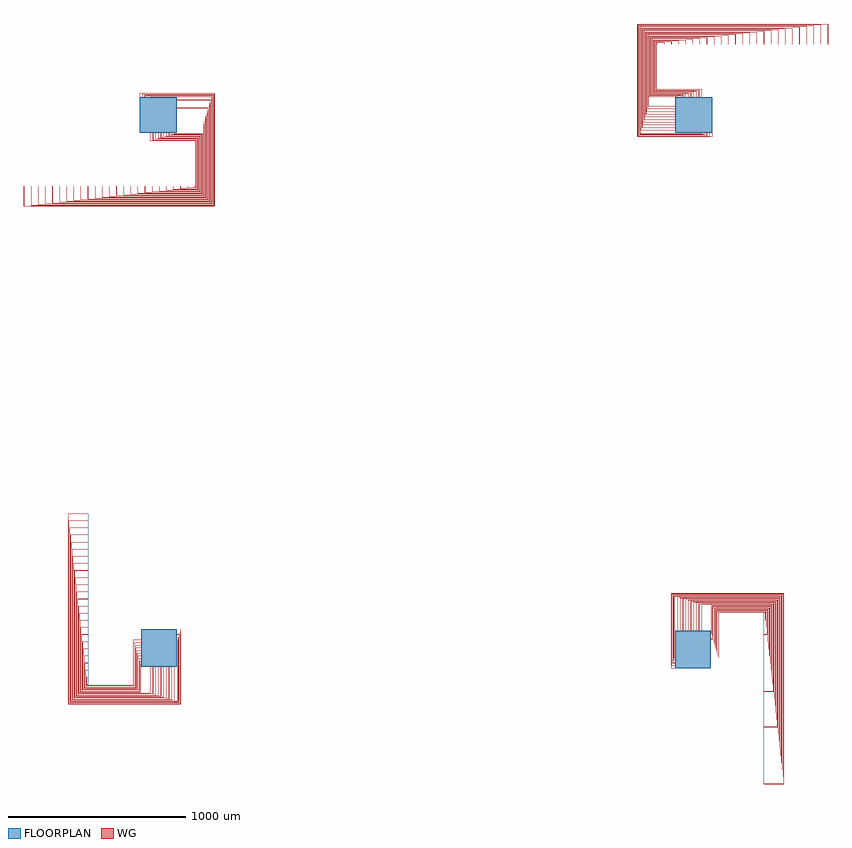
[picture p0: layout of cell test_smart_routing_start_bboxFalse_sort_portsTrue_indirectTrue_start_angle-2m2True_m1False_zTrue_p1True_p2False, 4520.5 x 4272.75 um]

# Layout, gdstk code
import gdstk
lib = gdstk.Library(unit=1e-6, precision=1e-09)
def R(c, l, rs):  # rectangles x0, y0, x1, y1
    for r in rs: c.add(gdstk.rectangle(r[:2], r[2:], *l))
def P(c, l, *ps):  # polygons
    for p in ps: c.add(gdstk.Polygon(p, *l))
WG = (1, 0)
FLOORPLAN = (10, 0)

test_smart_routing_start = lib.new_cell('test_smart_routing_start_bboxFalse_sort_portsTrue_indirectTrue_start_angle-2m2True_m1False_zTrue_p1True_p2False')
P(test_smart_routing_start, WG, [(3050.05,3100),(3050.05,3144.8),(2795.55,3144.8),(2795.55,3404.2),(2799.95,3404.2),(2799.95,3400),(2799.75,3400),(2799.75,3404),(2795.75,3404),(2795.75,3145),(3050.25,3145),(3050.25,3100)],
  [(3049.75,3100),(3049.75,3144.5),(2795.25,3144.5),(2795.25,3404.5),(2800.25,3404.5),(2800.25,3400),(2800.05,3400),(2800.05,3404.3),(2795.45,3404.3),(2795.45,3144.7),(3049.95,3144.7),(3049.95,3100)],
  [(3035.05,3100),(3035.05,3140.3),(2791.05,3140.3),(2791.05,3408.7),(2839.95,3408.7),(2839.95,3400),(2839.75,3400),(2839.75,3408.5),(2791.25,3408.5),(2791.25,3140.5),(3035.25,3140.5),(3035.25,3100)],
  [(3034.75,3100),(3034.75,3140),(2790.75,3140),(2790.75,3409),(2840.25,3409),(2840.25,3400),(2840.05,3400),(2840.05,3408.8),(2790.95,3408.8),(2790.95,3140.2),(3034.95,3140.2),(3034.95,3100)],
  [(3020.05,3100),(3020.05,3135.8),(2786.55,3135.8),(2786.55,3413.2),(2879.95,3413.2),(2879.95,3400),(2879.75,3400),(2879.75,3413),(2786.75,3413),(2786.75,3136),(3020.25,3136),(3020.25,3100)],
  [(3019.75,3100),(3019.75,3135.5),(2786.25,3135.5),(2786.25,3413.5),(2880.25,3413.5),(2880.25,3400),(2880.05,3400),(2880.05,3413.3),(2786.45,3413.3),(2786.45,3135.7),(3019.95,3135.7),(3019.95,3100)],
  [(3005.05,3100),(3005.05,3131.3),(2782.05,3131.3),(2782.05,3417.7),(2919.95,3417.7),(2919.95,3400),(2919.75,3400),(2919.75,3417.5),(2782.25,3417.5),(2782.25,3131.5),(3005.25,3131.5),(3005.25,3100)],
  [(3004.75,3100),(3004.75,3131),(2781.75,3131),(2781.75,3418),(2920.25,3418),(2920.25,3400),(2920.05,3400),(2920.05,3417.8),(2781.95,3417.8),(2781.95,3131.2),(3004.95,3131.2),(3004.95,3100)],
  [(2990.05,3100),(2990.05,3126.8),(2777.55,3126.8),(2777.55,3422.2),(2959.95,3422.2),(2959.95,3400),(2959.75,3400),(2959.75,3422),(2777.75,3422),(2777.75,3127),(2990.25,3127),(2990.25,3100)],
  [(2989.75,3100),(2989.75,3126.5),(2777.25,3126.5),(2777.25,3422.5),(2960.25,3422.5),(2960.25,3400),(2960.05,3400),(2960.05,3422.3),(2777.45,3422.3),(2777.45,3126.7),(2989.95,3126.7),(2989.95,3100)],
  [(2975.05,3100),(2975.05,3122.3),(2773.05,3122.3),(2773.05,3426.7),(2999.95,3426.7),(2999.95,3400),(2999.75,3400),(2999.75,3426.5),(2773.25,3426.5),(2773.25,3122.5),(2975.25,3122.5),(2975.25,3100)],
  [(2974.75,3100),(2974.75,3122),(2772.75,3122),(2772.75,3427),(3000.25,3427),(3000.25,3400),(3000.05,3400),(3000.05,3426.8),(2772.95,3426.8),(2772.95,3122.2),(2974.95,3122.2),(2974.95,3100)],
  [(2960.05,3100),(2960.05,3117.8),(2768.55,3117.8),(2768.55,3431.2),(3039.95,3431.2),(3039.95,3400),(3039.75,3400),(3039.75,3431),(2768.75,3431),(2768.75,3118),(2960.25,3118),(2960.25,3100)],
  [(2959.75,3100),(2959.75,3117.5),(2768.25,3117.5),(2768.25,3431.5),(3040.25,3431.5),(3040.25,3400),(3040.05,3400),(3040.05,3431.3),(2768.45,3431.3),(2768.45,3117.7),(2959.95,3117.7),(2959.95,3100)],
  [(2945.05,3100),(2945.05,3113.3),(2764.05,3113.3),(2764.05,3435.7),(3079.95,3435.7),(3079.95,3400),(3079.75,3400),(3079.75,3435.5),(2764.25,3435.5),(2764.25,3113.5),(2945.25,3113.5),(2945.25,3100)],
  [(2944.75,3100),(2944.75,3113),(2763.75,3113),(2763.75,3436),(3080.25,3436),(3080.25,3400),(3080.05,3400),(3080.05,3435.8),(2763.95,3435.8),(2763.95,3113.2),(2944.95,3113.2),(2944.95,3100)],
  [(2930.05,3100),(2930.05,3108.8),(2759.55,3108.8),(2759.55,3440.2),(3119.95,3440.2),(3119.95,3400),(3119.75,3400),(3119.75,3440),(2759.75,3440),(2759.75,3109),(2930.25,3109),(2930.25,3100)],
  [(2929.75,3100),(2929.75,3108.5),(2759.25,3108.5),(2759.25,3440.5),(3120.25,3440.5),(3120.25,3400),(3120.05,3400),(3120.05,3440.3),(2759.45,3440.3),(2759.45,3108.7),(2929.95,3108.7),(2929.95,3100)],
  [(2915.05,3100),(2915.05,3104.3),(2755.05,3104.3),(2755.05,3444.7),(3159.95,3444.7),(3159.95,3400),(3159.75,3400),(3159.75,3444.5),(2755.25,3444.5),(2755.25,3104.5),(2915.25,3104.5),(2915.25,3100)],
  [(2914.75,3100),(2914.75,3104),(2754.75,3104),(2754.75,3445),(3160.25,3445),(3160.25,3400),(3160.05,3400),(3160.05,3444.8),(2754.95,3444.8),(2754.95,3104.2),(2914.95,3104.2),(2914.95,3100)],
  [(2750.55,3050.05),(2750.55,3449.2),(3199.95,3449.2),(3199.95,3400),(3199.75,3400),(3199.75,3449),(2750.75,3449),(2750.75,3050.25),(2900,3050.25),(2900,3050.05)],
  [(2750.25,3049.75),(2750.25,3449.5),(3200.25,3449.5),(3200.25,3400),(3200.05,3400),(3200.05,3449.3),(2750.45,3449.3),(2750.45,3049.95),(2900,3049.95),(2900,3049.75)],
  [(2746.05,3035.05),(2746.05,3453.7),(3239.95,3453.7),(3239.95,3400),(3239.75,3400),(3239.75,3453.5),(2746.25,3453.5),(2746.25,3035.25),(2900,3035.25),(2900,3035.05)],
  [(2745.75,3034.75),(2745.75,3454),(3240.25,3454),(3240.25,3400),(3240.05,3400),(3240.05,3453.8),(2745.95,3453.8),(2745.95,3034.95),(2900,3034.95),(2900,3034.75)],
  [(2741.55,3020.05),(2741.55,3458.2),(3279.95,3458.2),(3279.95,3400),(3279.75,3400),(3279.75,3458),(2741.75,3458),(2741.75,3020.25),(2900,3020.25),(2900,3020.05)],
  [(2741.25,3019.75),(2741.25,3458.5),(3280.25,3458.5),(3280.25,3400),(3280.05,3400),(3280.05,3458.3),(2741.45,3458.3),(2741.45,3019.95),(2900,3019.95),(2900,3019.75)],
  [(2737.05,3005.05),(2737.05,3462.7),(3319.95,3462.7),(3319.95,3400),(3319.75,3400),(3319.75,3462.5),(2737.25,3462.5),(2737.25,3005.25),(2900,3005.25),(2900,3005.05)],
  [(2736.75,3004.75),(2736.75,3463),(3320.25,3463),(3320.25,3400),(3320.05,3400),(3320.05,3462.8),(2736.95,3462.8),(2736.95,3004.95),(2900,3004.95),(2900,3004.75)],
  [(2732.55,2990.05),(2732.55,3467.2),(3359.95,3467.2),(3359.95,3400),(3359.75,3400),(3359.75,3467),(2732.75,3467),(2732.75,2990.25),(2900,2990.25),(2900,2990.05)],
  [(2732.25,2989.75),(2732.25,3467.5),(3360.25,3467.5),(3360.25,3400),(3360.05,3400),(3360.05,3467.3),(2732.45,3467.3),(2732.45,2989.95),(2900,2989.95),(2900,2989.75)],
  [(2728.05,2975.05),(2728.05,3471.7),(3399.95,3471.7),(3399.95,3400),(3399.75,3400),(3399.75,3471.5),(2728.25,3471.5),(2728.25,2975.25),(2900,2975.25),(2900,2975.05)],
  [(2727.75,2974.75),(2727.75,3472),(3400.25,3472),(3400.25,3400),(3400.05,3400),(3400.05,3471.8),(2727.95,3471.8),(2727.95,2974.95),(2900,2974.95),(2900,2974.75)],
  [(2723.55,2960.05),(2723.55,3476.2),(3439.95,3476.2),(3439.95,3400),(3439.75,3400),(3439.75,3476),(2723.75,3476),(2723.75,2960.25),(2900,2960.25),(2900,2960.05)],
  [(2723.25,2959.75),(2723.25,3476.5),(3440.25,3476.5),(3440.25,3400),(3440.05,3400),(3440.05,3476.3),(2723.45,3476.3),(2723.45,2959.95),(2900,2959.95),(2900,2959.75)],
  [(2719.05,2945.05),(2719.05,3480.7),(3479.95,3480.7),(3479.95,3400),(3479.75,3400),(3479.75,3480.5),(2719.25,3480.5),(2719.25,2945.25),(2900,2945.25),(2900,2945.05)],
  [(2718.75,2944.75),(2718.75,3481),(3480.25,3481),(3480.25,3400),(3480.05,3400),(3480.05,3480.8),(2718.95,3480.8),(2718.95,2944.95),(2900,2944.95),(2900,2944.75)],
  [(2714.55,2930.05),(2714.55,3485.2),(3519.95,3485.2),(3519.95,3400),(3519.75,3400),(3519.75,3485),(2714.75,3485),(2714.75,2930.25),(2900,2930.25),(2900,2930.05)],
  [(2714.25,2929.75),(2714.25,3485.5),(3520.25,3485.5),(3520.25,3400),(3520.05,3400),(3520.05,3485.3),(2714.45,3485.3),(2714.45,2929.95),(2900,2929.95),(2900,2929.75)],
  [(2710.05,2915.05),(2710.05,3489.7),(3559.95,3489.7),(3559.95,3400),(3559.75,3400),(3559.75,3489.5),(2710.25,3489.5),(2710.25,2915.25),(2900,2915.25),(2900,2915.05)],
  [(2709.75,2914.75),(2709.75,3490),(3560.25,3490),(3560.25,3400),(3560.05,3400),(3560.05,3489.8),(2709.95,3489.8),(2709.95,2914.95),(2900,2914.95),(2900,2914.75)],
  [(2705.55,2895.8),(2705.55,3494.2),(3599.95,3494.2),(3599.95,3400),(3599.75,3400),(3599.75,3494),(2705.75,3494),(2705.75,2896),(3049.75,2896),(3049.75,2900),(3049.95,2900),(3049.95,2895.8)],
  [(2705.25,2895.5),(2705.25,3494.5),(3600.25,3494.5),(3600.25,3400),(3600.05,3400),(3600.05,3494.3),(2705.45,3494.3),(2705.45,2895.7),(3050.05,2895.7),(3050.05,2900),(3050.25,2900),(3050.25,2895.5)],
  [(2701.05,2891.3),(2701.05,3498.7),(3639.95,3498.7),(3639.95,3400),(3639.75,3400),(3639.75,3498.5),(2701.25,3498.5),(2701.25,2891.5),(3064.75,2891.5),(3064.75,2900),(3064.95,2900),(3064.95,2891.3)],
  [(2700.75,2891),(2700.75,3499),(3640.25,3499),(3640.25,3400),(3640.05,3400),(3640.05,3498.8),(2700.95,3498.8),(2700.95,2891.2),(3065.05,2891.2),(3065.05,2900),(3065.25,2900),(3065.25,2891)],
  [(2696.55,2886.8),(2696.55,3503.2),(3679.95,3503.2),(3679.95,3400),(3679.75,3400),(3679.75,3503),(2696.75,3503),(2696.75,2887),(3079.75,2887),(3079.75,2900),(3079.95,2900),(3079.95,2886.8)],
  [(2696.25,2886.5),(2696.25,3503.5),(3680.25,3503.5),(3680.25,3400),(3680.05,3400),(3680.05,3503.3),(2696.45,3503.3),(2696.45,2886.7),(3080.05,2886.7),(3080.05,2900),(3080.25,2900),(3080.25,2886.5)],
  [(2692.05,2882.3),(2692.05,3507.7),(3719.95,3507.7),(3719.95,3400),(3719.75,3400),(3719.75,3507.5),(2692.25,3507.5),(2692.25,2882.5),(3094.75,2882.5),(3094.75,2900),(3094.95,2900),(3094.95,2882.3)],
  [(2691.75,2882),(2691.75,3508),(3720.25,3508),(3720.25,3400),(3720.05,3400),(3720.05,3507.8),(2691.95,3507.8),(2691.95,2882.2),(3095.05,2882.2),(3095.05,2900),(3095.25,2900),(3095.25,2882)],
  [(2687.55,2877.8),(2687.55,3512.2),(3759.95,3512.2),(3759.95,3400),(3759.75,3400),(3759.75,3512),(2687.75,3512),(2687.75,2878),(3109.75,2878),(3109.75,2900),(3109.95,2900),(3109.95,2877.8)],
  [(2687.25,2877.5),(2687.25,3512.5),(3760.25,3512.5),(3760.25,3400),(3760.05,3400),(3760.05,3512.3),(2687.45,3512.3),(2687.45,2877.7),(3110.05,2877.7),(3110.05,2900),(3110.25,2900),(3110.25,2877.5)],
  [(200.05,2595.8),(200.05,2600),(200.25,2600),(200.25,2596),(204.25,2596),(204.25,2855),(-50.25,2855),(-50.25,2900),(-50.05,2900),(-50.05,2855.2),(204.45,2855.2),(204.45,2595.8)],
  [(199.75,2595.5),(199.75,2600),(199.95,2600),(199.95,2595.7),(204.55,2595.7),(204.55,2855.3),(-49.95,2855.3),(-49.95,2900),(-49.75,2900),(-49.75,2855.5),(204.75,2855.5),(204.75,2595.5)],
  [(160.05,2591.3),(160.05,2600),(160.25,2600),(160.25,2591.5),(208.75,2591.5),(208.75,2859.5),(-35.25,2859.5),(-35.25,2900),(-35.05,2900),(-35.05,2859.7),(208.95,2859.7),(208.95,2591.3)],
  [(159.75,2591),(159.75,2600),(159.95,2600),(159.95,2591.2),(209.05,2591.2),(209.05,2859.8),(-34.95,2859.8),(-34.95,2900),(-34.75,2900),(-34.75,2860),(209.25,2860),(209.25,2591)],
  [(120.05,2586.8),(120.05,2600),(120.25,2600),(120.25,2587),(213.25,2587),(213.25,2864),(-20.25,2864),(-20.25,2900),(-20.05,2900),(-20.05,2864.2),(213.45,2864.2),(213.45,2586.8)],
  [(119.75,2586.5),(119.75,2600),(119.95,2600),(119.95,2586.7),(213.55,2586.7),(213.55,2864.3),(-19.95,2864.3),(-19.95,2900),(-19.75,2900),(-19.75,2864.5),(213.75,2864.5),(213.75,2586.5)],
  [(80.05,2582.3),(80.05,2600),(80.25,2600),(80.25,2582.5),(217.75,2582.5),(217.75,2868.5),(-5.25,2868.5),(-5.25,2900),(-5.05,2900),(-5.05,2868.7),(217.95,2868.7),(217.95,2582.3)],
  [(79.75,2582),(79.75,2600),(79.95,2600),(79.95,2582.2),(218.05,2582.2),(218.05,2868.8),(-4.95,2868.8),(-4.95,2900),(-4.75,2900),(-4.75,2869),(218.25,2869),(218.25,2582)],
  [(40.05,2577.8),(40.05,2600),(40.25,2600),(40.25,2578),(222.25,2578),(222.25,2873),(9.75,2873),(9.75,2900),(9.95,2900),(9.95,2873.2),(222.45,2873.2),(222.45,2577.8)],
  [(39.75,2577.5),(39.75,2600),(39.95,2600),(39.95,2577.7),(222.55,2577.7),(222.55,2873.3),(10.05,2873.3),(10.05,2900),(10.25,2900),(10.25,2873.5),(222.75,2873.5),(222.75,2577.5)],
  [(0.05,2573.3),(0.05,2600),(0.25,2600),(0.25,2573.5),(226.75,2573.5),(226.75,2877.5),(24.75,2877.5),(24.75,2900),(24.95,2900),(24.95,2877.7),(226.95,2877.7),(226.95,2573.3)],
  [(-0.25,2573),(-0.25,2600),(-0.05,2600),(-0.05,2573.2),(227.05,2573.2),(227.05,2877.8),(25.05,2877.8),(25.05,2900),(25.25,2900),(25.25,2878),(227.25,2878),(227.25,2573)],
  [(-39.95,2568.8),(-39.95,2600),(-39.75,2600),(-39.75,2569),(231.25,2569),(231.25,2882),(39.75,2882),(39.75,2900),(39.95,2900),(39.95,2882.2),(231.45,2882.2),(231.45,2568.8)],
  [(-40.25,2568.5),(-40.25,2600),(-40.05,2600),(-40.05,2568.7),(231.55,2568.7),(231.55,2882.3),(40.05,2882.3),(40.05,2900),(40.25,2900),(40.25,2882.5),(231.75,2882.5),(231.75,2568.5)],
  [(-79.95,2564.3),(-79.95,2600),(-79.75,2600),(-79.75,2564.5),(235.75,2564.5),(235.75,2886.5),(54.75,2886.5),(54.75,2900),(54.95,2900),(54.95,2886.7),(235.95,2886.7),(235.95,2564.3)],
  [(-80.25,2564),(-80.25,2600),(-80.05,2600),(-80.05,2564.2),(236.05,2564.2),(236.05,2886.8),(55.05,2886.8),(55.05,2900),(55.25,2900),(55.25,2887),(236.25,2887),(236.25,2564)],
  [(-119.95,2559.8),(-119.95,2600),(-119.75,2600),(-119.75,2560),(240.25,2560),(240.25,2891),(69.75,2891),(69.75,2900),(69.95,2900),(69.95,2891.2),(240.45,2891.2),(240.45,2559.8)],
  [(-120.25,2559.5),(-120.25,2600),(-120.05,2600),(-120.05,2559.7),(240.55,2559.7),(240.55,2891.3),(70.05,2891.3),(70.05,2900),(70.25,2900),(70.25,2891.5),(240.75,2891.5),(240.75,2559.5)],
  [(-159.95,2555.3),(-159.95,2600),(-159.75,2600),(-159.75,2555.5),(244.75,2555.5),(244.75,2895.5),(84.75,2895.5),(84.75,2900),(84.95,2900),(84.95,2895.7),(244.95,2895.7),(244.95,2555.3)],
  [(-160.25,2555),(-160.25,2600),(-160.05,2600),(-160.05,2555.2),(245.05,2555.2),(245.05,2895.8),(85.05,2895.8),(85.05,2900),(85.25,2900),(85.25,2896),(245.25,2896),(245.25,2555)],
  [(-199.95,2550.8),(-199.95,2600),(-199.75,2600),(-199.75,2551),(249.25,2551),(249.25,2949.75),(100,2949.75),(100,2949.95),(249.45,2949.95),(249.45,2550.8)],
  [(-200.25,2550.5),(-200.25,2600),(-200.05,2600),(-200.05,2550.7),(249.55,2550.7),(249.55,2950.05),(100,2950.05),(100,2950.25),(249.75,2950.25),(249.75,2550.5)],
  [(-239.95,2546.3),(-239.95,2600),(-239.75,2600),(-239.75,2546.5),(253.75,2546.5),(253.75,2964.75),(100,2964.75),(100,2964.95),(253.95,2964.95),(253.95,2546.3)],
  [(-240.25,2546),(-240.25,2600),(-240.05,2600),(-240.05,2546.2),(254.05,2546.2),(254.05,2965.05),(100,2965.05),(100,2965.25),(254.25,2965.25),(254.25,2546)],
  [(-279.95,2541.8),(-279.95,2600),(-279.75,2600),(-279.75,2542),(258.25,2542),(258.25,2979.75),(100,2979.75),(100,2979.95),(258.45,2979.95),(258.45,2541.8)],
  [(-280.25,2541.5),(-280.25,2600),(-280.05,2600),(-280.05,2541.7),(258.55,2541.7),(258.55,2980.05),(100,2980.05),(100,2980.25),(258.75,2980.25),(258.75,2541.5)],
  [(-319.95,2537.3),(-319.95,2600),(-319.75,2600),(-319.75,2537.5),(262.75,2537.5),(262.75,2994.75),(100,2994.75),(100,2994.95),(262.95,2994.95),(262.95,2537.3)],
  [(-320.25,2537),(-320.25,2600),(-320.05,2600),(-320.05,2537.2),(263.05,2537.2),(263.05,2995.05),(100,2995.05),(100,2995.25),(263.25,2995.25),(263.25,2537)],
  [(-359.95,2532.8),(-359.95,2600),(-359.75,2600),(-359.75,2533),(267.25,2533),(267.25,3009.75),(100,3009.75),(100,3009.95),(267.45,3009.95),(267.45,2532.8)],
  [(-360.25,2532.5),(-360.25,2600),(-360.05,2600),(-360.05,2532.7),(267.55,2532.7),(267.55,3010.05),(100,3010.05),(100,3010.25),(267.75,3010.25),(267.75,2532.5)],
  [(-399.95,2528.3),(-399.95,2600),(-399.75,2600),(-399.75,2528.5),(271.75,2528.5),(271.75,3024.75),(100,3024.75),(100,3024.95),(271.95,3024.95),(271.95,2528.3)],
  [(-400.25,2528),(-400.25,2600),(-400.05,2600),(-400.05,2528.2),(272.05,2528.2),(272.05,3025.05),(100,3025.05),(100,3025.25),(272.25,3025.25),(272.25,2528)],
  [(-439.95,2523.8),(-439.95,2600),(-439.75,2600),(-439.75,2524),(276.25,2524),(276.25,3039.75),(100,3039.75),(100,3039.95),(276.45,3039.95),(276.45,2523.8)],
  [(-440.25,2523.5),(-440.25,2600),(-440.05,2600),(-440.05,2523.7),(276.55,2523.7),(276.55,3040.05),(100,3040.05),(100,3040.25),(276.75,3040.25),(276.75,2523.5)],
  [(-479.95,2519.3),(-479.95,2600),(-479.75,2600),(-479.75,2519.5),(280.75,2519.5),(280.75,3054.75),(100,3054.75),(100,3054.95),(280.95,3054.95),(280.95,2519.3)],
  [(-480.25,2519),(-480.25,2600),(-480.05,2600),(-480.05,2519.2),(281.05,2519.2),(281.05,3055.05),(100,3055.05),(100,3055.25),(281.25,3055.25),(281.25,2519)],
  [(-519.95,2514.8),(-519.95,2600),(-519.75,2600),(-519.75,2515),(285.25,2515),(285.25,3069.75),(100,3069.75),(100,3069.95),(285.45,3069.95),(285.45,2514.8)],
  [(-520.25,2514.5),(-520.25,2600),(-520.05,2600),(-520.05,2514.7),(285.55,2514.7),(285.55,3070.05),(100,3070.05),(100,3070.25),(285.75,3070.25),(285.75,2514.5)],
  [(-559.95,2510.3),(-559.95,2600),(-559.75,2600),(-559.75,2510.5),(289.75,2510.5),(289.75,3084.75),(100,3084.75),(100,3084.95),(289.95,3084.95),(289.95,2510.3)],
  [(-560.25,2510),(-560.25,2600),(-560.05,2600),(-560.05,2510.2),(290.05,2510.2),(290.05,3085.05),(100,3085.05),(100,3085.25),(290.25,3085.25),(290.25,2510)],
  [(-599.95,2505.8),(-599.95,2600),(-599.75,2600),(-599.75,2506),(294.25,2506),(294.25,3104),(-49.75,3104),(-49.75,3100),(-49.95,3100),(-49.95,3104.2),(294.45,3104.2),(294.45,2505.8)],
  [(-600.25,2505.5),(-600.25,2600),(-600.05,2600),(-600.05,2505.7),(294.55,2505.7),(294.55,3104.3),(-50.05,3104.3),(-50.05,3100),(-50.25,3100),(-50.25,3104.5),(294.75,3104.5),(294.75,2505.5)],
  [(-639.95,2501.3),(-639.95,2600),(-639.75,2600),(-639.75,2501.5),(298.75,2501.5),(298.75,3108.5),(-64.75,3108.5),(-64.75,3100),(-64.95,3100),(-64.95,3108.7),(298.95,3108.7),(298.95,2501.3)],
  [(-640.25,2501),(-640.25,2600),(-640.05,2600),(-640.05,2501.2),(299.05,2501.2),(299.05,3108.8),(-65.05,3108.8),(-65.05,3100),(-65.25,3100),(-65.25,3109),(299.25,3109),(299.25,2501)],
  [(-679.95,2496.8),(-679.95,2600),(-679.75,2600),(-679.75,2497),(303.25,2497),(303.25,3113),(-79.75,3113),(-79.75,3100),(-79.95,3100),(-79.95,3113.2),(303.45,3113.2),(303.45,2496.8)],
  [(-680.25,2496.5),(-680.25,2600),(-680.05,2600),(-680.05,2496.7),(303.55,2496.7),(303.55,3113.3),(-80.05,3113.3),(-80.05,3100),(-80.25,3100),(-80.25,3113.5),(303.75,3113.5),(303.75,2496.5)],
  [(-719.95,2492.3),(-719.95,2600),(-719.75,2600),(-719.75,2492.5),(307.75,2492.5),(307.75,3117.5),(-94.75,3117.5),(-94.75,3100),(-94.95,3100),(-94.95,3117.7),(307.95,3117.7),(307.95,2492.3)],
  [(-720.25,2492),(-720.25,2600),(-720.05,2600),(-720.05,2492.2),(308.05,2492.2),(308.05,3117.8),(-95.05,3117.8),(-95.05,3100),(-95.25,3100),(-95.25,3118),(308.25,3118),(308.25,2492)],
  [(-759.95,2487.8),(-759.95,2600),(-759.75,2600),(-759.75,2488),(312.25,2488),(312.25,3122),(-109.75,3122),(-109.75,3100),(-109.95,3100),(-109.95,3122.2),(312.45,3122.2),(312.45,2487.8)],
  [(-760.25,2487.5),(-760.25,2600),(-760.05,2600),(-760.05,2487.7),(312.55,2487.7),(312.55,3122.3),(-110.05,3122.3),(-110.05,3100),(-110.25,3100),(-110.25,3122.5),(312.75,3122.5),(312.75,2487.5)],
  [(-404.5,-204.75),(-404.5,-199.75),(-400,-199.75),(-400,-199.95),(-404.3,-199.95),(-404.3,-204.55),(-144.7,-204.55),(-144.7,49.95),(-100,49.95),(-100,49.75),(-144.5,49.75),(-144.5,-204.75)],
  [(-404.2,-204.45),(-404.2,-200.05),(-400,-200.05),(-400,-200.25),(-404,-200.25),(-404,-204.25),(-145,-204.25),(-145,50.25),(-100,50.25),(-100,50.05),(-144.8,50.05),(-144.8,-204.45)],
  [(-409,-209.25),(-409,-159.75),(-400,-159.75),(-400,-159.95),(-408.8,-159.95),(-408.8,-209.05),(-140.2,-209.05),(-140.2,34.95),(-100,34.95),(-100,34.75),(-140,34.75),(-140,-209.25)],
  [(-408.7,-208.95),(-408.7,-160.05),(-400,-160.05),(-400,-160.25),(-408.5,-160.25),(-408.5,-208.75),(-140.5,-208.75),(-140.5,35.25),(-100,35.25),(-100,35.05),(-140.3,35.05),(-140.3,-208.95)],
  [(-413.5,-213.75),(-413.5,-119.75),(-400,-119.75),(-400,-119.95),(-413.3,-119.95),(-413.3,-213.55),(-135.7,-213.55),(-135.7,19.95),(-100,19.95),(-100,19.75),(-135.5,19.75),(-135.5,-213.75)],
  [(-413.2,-213.45),(-413.2,-120.05),(-400,-120.05),(-400,-120.25),(-413,-120.25),(-413,-213.25),(-136,-213.25),(-136,20.25),(-100,20.25),(-100,20.05),(-135.8,20.05),(-135.8,-213.45)],
  [(-418,-218.25),(-418,-79.75),(-400,-79.75),(-400,-79.95),(-417.8,-79.95),(-417.8,-218.05),(-131.2,-218.05),(-131.2,4.95),(-100,4.95),(-100,4.75),(-131,4.75),(-131,-218.25)],
  [(-417.7,-217.95),(-417.7,-80.05),(-400,-80.05),(-400,-80.25),(-417.5,-80.25),(-417.5,-217.75),(-131.5,-217.75),(-131.5,5.25),(-100,5.25),(-100,5.05),(-131.3,5.05),(-131.3,-217.95)],
  [(-422.5,-222.75),(-422.5,-39.75),(-400,-39.75),(-400,-39.95),(-422.3,-39.95),(-422.3,-222.55),(-126.7,-222.55),(-126.7,-10.05),(-100,-10.05),(-100,-10.25),(-126.5,-10.25),(-126.5,-222.75)],
  [(-422.2,-222.45),(-422.2,-40.05),(-400,-40.05),(-400,-40.25),(-422,-40.25),(-422,-222.25),(-127,-222.25),(-127,-9.75),(-100,-9.75),(-100,-9.95),(-126.8,-9.95),(-126.8,-222.45)],
  [(-426.7,-226.95),(-426.7,-0.05),(-400,-0.05),(-400,-0.25),(-426.5,-0.25),(-426.5,-226.75),(-122.5,-226.75),(-122.5,-24.75),(-100,-24.75),(-100,-24.95),(-122.3,-24.95),(-122.3,-226.95)],
  [(-427,-227.25),(-427,0.25),(-400,0.25),(-400,0.05),(-426.8,0.05),(-426.8,-227.05),(-122.2,-227.05),(-122.2,-25.05),(-100,-25.05),(-100,-25.25),(-122,-25.25),(-122,-227.25)],
  [(-431.2,-231.45),(-431.2,39.95),(-400,39.95),(-400,39.75),(-431,39.75),(-431,-231.25),(-118,-231.25),(-118,-39.75),(-100,-39.75),(-100,-39.95),(-117.8,-39.95),(-117.8,-231.45)],
  [(-431.5,-231.75),(-431.5,40.25),(-400,40.25),(-400,40.05),(-431.3,40.05),(-431.3,-231.55),(-117.7,-231.55),(-117.7,-40.05),(-100,-40.05),(-100,-40.25),(-117.5,-40.25),(-117.5,-231.75)],
  [(-435.7,-235.95),(-435.7,79.95),(-400,79.95),(-400,79.75),(-435.5,79.75),(-435.5,-235.75),(-113.5,-235.75),(-113.5,-54.75),(-100,-54.75),(-100,-54.95),(-113.3,-54.95),(-113.3,-235.95)],
  [(-436,-236.25),(-436,80.25),(-400,80.25),(-400,80.05),(-435.8,80.05),(-435.8,-236.05),(-113.2,-236.05),(-113.2,-55.05),(-100,-55.05),(-100,-55.25),(-113,-55.25),(-113,-236.25)],
  [(-440.2,-240.45),(-440.2,119.95),(-400,119.95),(-400,119.75),(-440,119.75),(-440,-240.25),(-109,-240.25),(-109,-69.75),(-100,-69.75),(-100,-69.95),(-108.8,-69.95),(-108.8,-240.45)],
  [(-440.5,-240.75),(-440.5,120.25),(-400,120.25),(-400,120.05),(-440.3,120.05),(-440.3,-240.55),(-108.7,-240.55),(-108.7,-70.05),(-100,-70.05),(-100,-70.25),(-108.5,-70.25),(-108.5,-240.75)],
  [(-444.7,-244.95),(-444.7,159.95),(-400,159.95),(-400,159.75),(-444.5,159.75),(-444.5,-244.75),(-104.5,-244.75),(-104.5,-84.75),(-100,-84.75),(-100,-84.95),(-104.3,-84.95),(-104.3,-244.95)],
  [(-445,-245.25),(-445,160.25),(-400,160.25),(-400,160.05),(-444.8,160.05),(-444.8,-245.05),(-104.2,-245.05),(-104.2,-85.05),(-100,-85.05),(-100,-85.25),(-104,-85.25),(-104,-245.25)],
  [(-449.2,-249.45),(-449.2,199.95),(-400,199.95),(-400,199.75),(-449,199.75),(-449,-249.25),(-50.25,-249.25),(-50.25,-100),(-50.05,-100),(-50.05,-249.45)],
  [(-449.5,-249.75),(-449.5,200.25),(-400,200.25),(-400,200.05),(-449.3,200.05),(-449.3,-249.55),(-49.95,-249.55),(-49.95,-100),(-49.75,-100),(-49.75,-249.75)],
  [(-453.7,-253.95),(-453.7,239.95),(-400,239.95),(-400,239.75),(-453.5,239.75),(-453.5,-253.75),(-35.25,-253.75),(-35.25,-100),(-35.05,-100),(-35.05,-253.95)],
  [(-454,-254.25),(-454,240.25),(-400,240.25),(-400,240.05),(-453.8,240.05),(-453.8,-254.05),(-34.95,-254.05),(-34.95,-100),(-34.75,-100),(-34.75,-254.25)],
  [(-458.2,-258.45),(-458.2,279.95),(-400,279.95),(-400,279.75),(-458,279.75),(-458,-258.25),(-20.25,-258.25),(-20.25,-100),(-20.05,-100),(-20.05,-258.45)],
  [(-458.5,-258.75),(-458.5,280.25),(-400,280.25),(-400,280.05),(-458.3,280.05),(-458.3,-258.55),(-19.95,-258.55),(-19.95,-100),(-19.75,-100),(-19.75,-258.75)],
  [(-462.7,-262.95),(-462.7,319.95),(-400,319.95),(-400,319.75),(-462.5,319.75),(-462.5,-262.75),(-5.25,-262.75),(-5.25,-100),(-5.05,-100),(-5.05,-262.95)],
  [(-463,-263.25),(-463,320.25),(-400,320.25),(-400,320.05),(-462.8,320.05),(-462.8,-263.05),(-4.95,-263.05),(-4.95,-100),(-4.75,-100),(-4.75,-263.25)],
  [(-467.2,-267.45),(-467.2,359.95),(-400,359.95),(-400,359.75),(-467,359.75),(-467,-267.25),(9.75,-267.25),(9.75,-100),(9.95,-100),(9.95,-267.45)],
  [(-467.5,-267.75),(-467.5,360.25),(-400,360.25),(-400,360.05),(-467.3,360.05),(-467.3,-267.55),(10.05,-267.55),(10.05,-100),(10.25,-100),(10.25,-267.75)],
  [(-471.7,-271.95),(-471.7,399.95),(-400,399.95),(-400,399.75),(-471.5,399.75),(-471.5,-271.75),(24.75,-271.75),(24.75,-100),(24.95,-100),(24.95,-271.95)],
  [(-472,-272.25),(-472,400.25),(-400,400.25),(-400,400.05),(-471.8,400.05),(-471.8,-272.05),(25.05,-272.05),(25.05,-100),(25.25,-100),(25.25,-272.25)],
  [(-476.2,-276.45),(-476.2,439.95),(-400,439.95),(-400,439.75),(-476,439.75),(-476,-276.25),(39.75,-276.25),(39.75,-100),(39.95,-100),(39.95,-276.45)],
  [(-476.5,-276.75),(-476.5,440.25),(-400,440.25),(-400,440.05),(-476.3,440.05),(-476.3,-276.55),(40.05,-276.55),(40.05,-100),(40.25,-100),(40.25,-276.75)],
  [(-480.7,-280.95),(-480.7,479.95),(-400,479.95),(-400,479.75),(-480.5,479.75),(-480.5,-280.75),(54.75,-280.75),(54.75,-100),(54.95,-100),(54.95,-280.95)],
  [(-481,-281.25),(-481,480.25),(-400,480.25),(-400,480.05),(-480.8,480.05),(-480.8,-281.05),(55.05,-281.05),(55.05,-100),(55.25,-100),(55.25,-281.25)],
  [(-485.2,-285.45),(-485.2,519.95),(-400,519.95),(-400,519.75),(-485,519.75),(-485,-285.25),(69.75,-285.25),(69.75,-100),(69.95,-100),(69.95,-285.45)],
  [(-485.5,-285.75),(-485.5,520.25),(-400,520.25),(-400,520.05),(-485.3,520.05),(-485.3,-285.55),(70.05,-285.55),(70.05,-100),(70.25,-100),(70.25,-285.75)],
  [(-489.7,-289.95),(-489.7,559.95),(-400,559.95),(-400,559.75),(-489.5,559.75),(-489.5,-289.75),(84.75,-289.75),(84.75,-100),(84.95,-100),(84.95,-289.95)],
  [(-490,-290.25),(-490,560.25),(-400,560.25),(-400,560.05),(-489.8,560.05),(-489.8,-290.05),(85.05,-290.05),(85.05,-100),(85.25,-100),(85.25,-290.25)],
  [(-494.2,-294.45),(-494.2,599.95),(-400,599.95),(-400,599.75),(-494,599.75),(-494,-294.25),(104,-294.25),(104,49.75),(100,49.75),(100,49.95),(104.2,49.95),(104.2,-294.45)],
  [(-494.5,-294.75),(-494.5,600.25),(-400,600.25),(-400,600.05),(-494.3,600.05),(-494.3,-294.55),(104.3,-294.55),(104.3,50.05),(100,50.05),(100,50.25),(104.5,50.25),(104.5,-294.75)],
  [(-498.7,-298.95),(-498.7,639.95),(-400,639.95),(-400,639.75),(-498.5,639.75),(-498.5,-298.75),(108.5,-298.75),(108.5,64.75),(100,64.75),(100,64.95),(108.7,64.95),(108.7,-298.95)],
  [(-499,-299.25),(-499,640.25),(-400,640.25),(-400,640.05),(-498.8,640.05),(-498.8,-299.05),(108.8,-299.05),(108.8,65.05),(100,65.05),(100,65.25),(109,65.25),(109,-299.25)],
  [(-503.2,-303.45),(-503.2,679.95),(-400,679.95),(-400,679.75),(-503,679.75),(-503,-303.25),(113,-303.25),(113,79.75),(100,79.75),(100,79.95),(113.2,79.95),(113.2,-303.45)],
  [(-503.5,-303.75),(-503.5,680.25),(-400,680.25),(-400,680.05),(-503.3,680.05),(-503.3,-303.55),(113.3,-303.55),(113.3,80.05),(100,80.05),(100,80.25),(113.5,80.25),(113.5,-303.75)],
  [(-507.7,-307.95),(-507.7,719.95),(-400,719.95),(-400,719.75),(-507.5,719.75),(-507.5,-307.75),(117.5,-307.75),(117.5,94.75),(100,94.75),(100,94.95),(117.7,94.95),(117.7,-307.95)],
  [(-508,-308.25),(-508,720.25),(-400,720.25),(-400,720.05),(-507.8,720.05),(-507.8,-308.05),(117.8,-308.05),(117.8,95.05),(100,95.05),(100,95.25),(118,95.25),(118,-308.25)],
  [(-512.2,-312.45),(-512.2,759.95),(-400,759.95),(-400,759.75),(-512,759.75),(-512,-312.25),(122,-312.25),(122,109.75),(100,109.75),(100,109.95),(122.2,109.95),(122.2,-312.45)],
  [(-512.5,-312.75),(-512.5,760.25),(-400,760.25),(-400,760.05),(-512.3,760.05),(-512.3,-312.55),(122.3,-312.55),(122.3,110.05),(100,110.05),(100,110.25),(122.5,110.25),(122.5,-312.75)],
  [(3100,-50.25),(3100,-50.05),(3144.8,-50.05),(3144.8,204.45),(3404.2,204.45),(3404.2,200.05),(3400,200.05),(3400,200.25),(3404,200.25),(3404,204.25),(3145,204.25),(3145,-50.25)],
  [(3100,-49.95),(3100,-49.75),(3144.5,-49.75),(3144.5,204.75),(3404.5,204.75),(3404.5,199.75),(3400,199.75),(3400,199.95),(3404.3,199.95),(3404.3,204.55),(3144.7,204.55),(3144.7,-49.95)],
  [(3100,-35.25),(3100,-35.05),(3140.3,-35.05),(3140.3,208.95),(3408.7,208.95),(3408.7,160.05),(3400,160.05),(3400,160.25),(3408.5,160.25),(3408.5,208.75),(3140.5,208.75),(3140.5,-35.25)],
  [(3100,-34.95),(3100,-34.75),(3140,-34.75),(3140,209.25),(3409,209.25),(3409,159.75),(3400,159.75),(3400,159.95),(3408.8,159.95),(3408.8,209.05),(3140.2,209.05),(3140.2,-34.95)],
  [(3100,-20.25),(3100,-20.05),(3135.8,-20.05),(3135.8,213.45),(3413.2,213.45),(3413.2,120.05),(3400,120.05),(3400,120.25),(3413,120.25),(3413,213.25),(3136,213.25),(3136,-20.25)],
  [(3100,-19.95),(3100,-19.75),(3135.5,-19.75),(3135.5,213.75),(3413.5,213.75),(3413.5,119.75),(3400,119.75),(3400,119.95),(3413.3,119.95),(3413.3,213.55),(3135.7,213.55),(3135.7,-19.95)],
  [(3100,-5.25),(3100,-5.05),(3131.3,-5.05),(3131.3,217.95),(3417.7,217.95),(3417.7,80.05),(3400,80.05),(3400,80.25),(3417.5,80.25),(3417.5,217.75),(3131.5,217.75),(3131.5,-5.25)],
  [(3100,-4.95),(3100,-4.75),(3131,-4.75),(3131,218.25),(3418,218.25),(3418,79.75),(3400,79.75),(3400,79.95),(3417.8,79.95),(3417.8,218.05),(3131.2,218.05),(3131.2,-4.95)],
  [(3100,9.75),(3100,9.95),(3126.8,9.95),(3126.8,222.45),(3422.2,222.45),(3422.2,40.05),(3400,40.05),(3400,40.25),(3422,40.25),(3422,222.25),(3127,222.25),(3127,9.75)],
  [(3100,10.05),(3100,10.25),(3126.5,10.25),(3126.5,222.75),(3422.5,222.75),(3422.5,39.75),(3400,39.75),(3400,39.95),(3422.3,39.95),(3422.3,222.55),(3126.7,222.55),(3126.7,10.05)],
  [(3400,0.05),(3400,0.25),(3426.5,0.25),(3426.5,226.75),(3122.5,226.75),(3122.5,24.75),(3100,24.75),(3100,24.95),(3122.3,24.95),(3122.3,226.95),(3426.7,226.95),(3426.7,0.05)],
  [(3400,-0.25),(3400,-0.05),(3426.8,-0.05),(3426.8,227.05),(3122.2,227.05),(3122.2,25.05),(3100,25.05),(3100,25.25),(3122,25.25),(3122,227.25),(3427,227.25),(3427,-0.25)],
  [(3400,-39.95),(3400,-39.75),(3431,-39.75),(3431,231.25),(3118,231.25),(3118,39.75),(3100,39.75),(3100,39.95),(3117.8,39.95),(3117.8,231.45),(3431.2,231.45),(3431.2,-39.95)],
  [(3400,-40.25),(3400,-40.05),(3431.3,-40.05),(3431.3,231.55),(3117.7,231.55),(3117.7,40.05),(3100,40.05),(3100,40.25),(3117.5,40.25),(3117.5,231.75),(3431.5,231.75),(3431.5,-40.25)],
  [(3400,-79.95),(3400,-79.75),(3435.5,-79.75),(3435.5,235.75),(3113.5,235.75),(3113.5,54.75),(3100,54.75),(3100,54.95),(3113.3,54.95),(3113.3,235.95),(3435.7,235.95),(3435.7,-79.95)],
  [(3400,-80.25),(3400,-80.05),(3435.8,-80.05),(3435.8,236.05),(3113.2,236.05),(3113.2,55.05),(3100,55.05),(3100,55.25),(3113,55.25),(3113,236.25),(3436,236.25),(3436,-80.25)],
  [(3400,-119.95),(3400,-119.75),(3440,-119.75),(3440,240.25),(3109,240.25),(3109,69.75),(3100,69.75),(3100,69.95),(3108.8,69.95),(3108.8,240.45),(3440.2,240.45),(3440.2,-119.95)],
  [(3400,-120.25),(3400,-120.05),(3440.3,-120.05),(3440.3,240.55),(3108.7,240.55),(3108.7,70.05),(3100,70.05),(3100,70.25),(3108.5,70.25),(3108.5,240.75),(3440.5,240.75),(3440.5,-120.25)],
  [(3400,-159.95),(3400,-159.75),(3444.5,-159.75),(3444.5,244.75),(3104.5,244.75),(3104.5,84.75),(3100,84.75),(3100,84.95),(3104.3,84.95),(3104.3,244.95),(3444.7,244.95),(3444.7,-159.95)],
  [(3400,-160.25),(3400,-160.05),(3444.8,-160.05),(3444.8,245.05),(3104.2,245.05),(3104.2,85.05),(3100,85.05),(3100,85.25),(3104,85.25),(3104,245.25),(3445,245.25),(3445,-160.25)],
  [(3400,-199.95),(3400,-199.75),(3449,-199.75),(3449,249.25),(3050.25,249.25),(3050.25,100),(3050.05,100),(3050.05,249.45),(3449.2,249.45),(3449.2,-199.95)],
  [(3400,-200.25),(3400,-200.05),(3449.3,-200.05),(3449.3,249.55),(3049.95,249.55),(3049.95,100),(3049.75,100),(3049.75,249.75),(3449.5,249.75),(3449.5,-200.25)],
  [(3400,-239.95),(3400,-239.75),(3453.5,-239.75),(3453.5,253.75),(3035.25,253.75),(3035.25,100),(3035.05,100),(3035.05,253.95),(3453.7,253.95),(3453.7,-239.95)],
  [(3400,-240.25),(3400,-240.05),(3453.8,-240.05),(3453.8,254.05),(3034.95,254.05),(3034.95,100),(3034.75,100),(3034.75,254.25),(3454,254.25),(3454,-240.25)],
  [(3400,-279.95),(3400,-279.75),(3458,-279.75),(3458,258.25),(3020.25,258.25),(3020.25,100),(3020.05,100),(3020.05,258.45),(3458.2,258.45),(3458.2,-279.95)],
  [(3400,-280.25),(3400,-280.05),(3458.3,-280.05),(3458.3,258.55),(3019.95,258.55),(3019.95,100),(3019.75,100),(3019.75,258.75),(3458.5,258.75),(3458.5,-280.25)],
  [(3400,-319.95),(3400,-319.75),(3462.5,-319.75),(3462.5,262.75),(3005.25,262.75),(3005.25,100),(3005.05,100),(3005.05,262.95),(3462.7,262.95),(3462.7,-319.95)],
  [(3400,-320.25),(3400,-320.05),(3462.8,-320.05),(3462.8,263.05),(3004.95,263.05),(3004.95,100),(3004.75,100),(3004.75,263.25),(3463,263.25),(3463,-320.25)],
  [(3400,-359.95),(3400,-359.75),(3467,-359.75),(3467,267.25),(2990.25,267.25),(2990.25,100),(2990.05,100),(2990.05,267.45),(3467.2,267.45),(3467.2,-359.95)],
  [(3400,-360.25),(3400,-360.05),(3467.3,-360.05),(3467.3,267.55),(2989.95,267.55),(2989.95,100),(2989.75,100),(2989.75,267.75),(3467.5,267.75),(3467.5,-360.25)],
  [(3400,-399.95),(3400,-399.75),(3471.5,-399.75),(3471.5,271.75),(2975.25,271.75),(2975.25,100),(2975.05,100),(2975.05,271.95),(3471.7,271.95),(3471.7,-399.95)],
  [(3400,-400.25),(3400,-400.05),(3471.8,-400.05),(3471.8,272.05),(2974.95,272.05),(2974.95,100),(2974.75,100),(2974.75,272.25),(3472,272.25),(3472,-400.25)],
  [(3400,-439.95),(3400,-439.75),(3476,-439.75),(3476,276.25),(2960.25,276.25),(2960.25,100),(2960.05,100),(2960.05,276.45),(3476.2,276.45),(3476.2,-439.95)],
  [(3400,-440.25),(3400,-440.05),(3476.3,-440.05),(3476.3,276.55),(2959.95,276.55),(2959.95,100),(2959.75,100),(2959.75,276.75),(3476.5,276.75),(3476.5,-440.25)],
  [(3400,-479.95),(3400,-479.75),(3480.5,-479.75),(3480.5,280.75),(2945.25,280.75),(2945.25,100),(2945.05,100),(2945.05,280.95),(3480.7,280.95),(3480.7,-479.95)],
  [(3400,-480.25),(3400,-480.05),(3480.8,-480.05),(3480.8,281.05),(2944.95,281.05),(2944.95,100),(2944.75,100),(2944.75,281.25),(3481,281.25),(3481,-480.25)],
  [(3400,-519.95),(3400,-519.75),(3485,-519.75),(3485,285.25),(2930.25,285.25),(2930.25,100),(2930.05,100),(2930.05,285.45),(3485.2,285.45),(3485.2,-519.95)],
  [(3400,-520.25),(3400,-520.05),(3485.3,-520.05),(3485.3,285.55),(2929.95,285.55),(2929.95,100),(2929.75,100),(2929.75,285.75),(3485.5,285.75),(3485.5,-520.25)],
  [(3400,-559.95),(3400,-559.75),(3489.5,-559.75),(3489.5,289.75),(2915.25,289.75),(2915.25,100),(2915.05,100),(2915.05,289.95),(3489.7,289.95),(3489.7,-559.95)],
  [(3400,-560.25),(3400,-560.05),(3489.8,-560.05),(3489.8,290.05),(2914.95,290.05),(2914.95,100),(2914.75,100),(2914.75,290.25),(3490,290.25),(3490,-560.25)],
  [(3400,-599.95),(3400,-599.75),(3494,-599.75),(3494,294.25),(2896,294.25),(2896,-49.75),(2900,-49.75),(2900,-49.95),(2895.8,-49.95),(2895.8,294.45),(3494.2,294.45),(3494.2,-599.95)],
  [(3400,-600.25),(3400,-600.05),(3494.3,-600.05),(3494.3,294.55),(2895.7,294.55),(2895.7,-50.05),(2900,-50.05),(2900,-50.25),(2895.5,-50.25),(2895.5,294.75),(3494.5,294.75),(3494.5,-600.25)],
  [(3400,-639.95),(3400,-639.75),(3498.5,-639.75),(3498.5,298.75),(2891.5,298.75),(2891.5,-64.75),(2900,-64.75),(2900,-64.95),(2891.3,-64.95),(2891.3,298.95),(3498.7,298.95),(3498.7,-639.95)],
  [(3400,-640.25),(3400,-640.05),(3498.8,-640.05),(3498.8,299.05),(2891.2,299.05),(2891.2,-65.05),(2900,-65.05),(2900,-65.25),(2891,-65.25),(2891,299.25),(3499,299.25),(3499,-640.25)],
  [(3400,-679.95),(3400,-679.75),(3503,-679.75),(3503,303.25),(2887,303.25),(2887,-79.75),(2900,-79.75),(2900,-79.95),(2886.8,-79.95),(2886.8,303.45),(3503.2,303.45),(3503.2,-679.95)],
  [(3400,-680.25),(3400,-680.05),(3503.3,-680.05),(3503.3,303.55),(2886.7,303.55),(2886.7,-80.05),(2900,-80.05),(2900,-80.25),(2886.5,-80.25),(2886.5,303.75),(3503.5,303.75),(3503.5,-680.25)],
  [(3400,-719.95),(3400,-719.75),(3507.5,-719.75),(3507.5,307.75),(2882.5,307.75),(2882.5,-94.75),(2900,-94.75),(2900,-94.95),(2882.3,-94.95),(2882.3,307.95),(3507.7,307.95),(3507.7,-719.95)],
  [(3400,-720.25),(3400,-720.05),(3507.8,-720.05),(3507.8,308.05),(2882.2,308.05),(2882.2,-95.05),(2900,-95.05),(2900,-95.25),(2882,-95.25),(2882,308.25),(3508,308.25),(3508,-720.25)],
  [(3400,-759.95),(3400,-759.75),(3512,-759.75),(3512,312.25),(2878,312.25),(2878,-109.75),(2900,-109.75),(2900,-109.95),(2877.8,-109.95),(2877.8,312.45),(3512.2,312.45),(3512.2,-759.95)],
  [(3400,-760.25),(3400,-760.05),(3512.3,-760.05),(3512.3,312.55),(2877.7,312.55),(2877.7,-110.05),(2900,-110.05),(2900,-110.25),(2877.5,-110.25),(2877.5,312.75),(3512.5,312.75),(3512.5,-760.25)])
R(test_smart_routing_start, FLOORPLAN, [(2900,-110,3100,100), (-100,-100,100,110), (-110,2900,100,3100), (2900,2900,3110,3100)])
P(test_smart_routing_start, FLOORPLAN, [(-400,-200),(-400,760),(-400,760),(-400,-200)],
  [(-760,2600),(-760,2600),(200,2600),(200,2600)],
  [(3400,-760),(3400,200),(3400,200),(3400,-760)],
  [(2800,3400),(2800,3400),(3760,3400),(3760,3400)])

lib.write_gds('test_smart_routing_start_bboxFalse_sort_portsTrue_indirectTrue_start_angle-2m2True_m1False_zTrue_p1True_p2False.gds')
